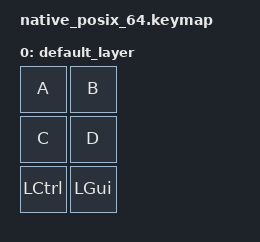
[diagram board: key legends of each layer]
#include <dt-bindings/zmk/keys.h>
#include <behaviors.dtsi>
#include <dt-bindings/zmk/kscan_mock.h>

/ {
    combos {
        compatible = "zmk,combos";

        combo_ab {
            timeout-ms = <50>;
            key-positions = <0 1>;
            bindings = <&kp X>;
            require-prior-idle-ms = <100>;
            require-prior-idle-ignore = <C LC(D)>;
        };
    };

    keymap {
        compatible = "zmk,keymap";

        default_layer {
            bindings = <
                &kp A &kp B
                &kp C &kp D
                &kp LCTL &kp LGUI
            >;
        };
    };
};

&kscan {
    rows = <3>;
    columns = <2>;
    events = <
        // Tap C and then combo, should actuate
        ZMK_MOCK_PRESS(1,0,10)
        ZMK_MOCK_RELEASE(1,0,10)
        ZMK_MOCK_PRESS(0,0,10)
        ZMK_MOCK_PRESS(0,1,10)
        ZMK_MOCK_RELEASE(0,0,10)
        ZMK_MOCK_RELEASE(0,1,100)

        // Tap D and then combo, should NOT actuate
        ZMK_MOCK_PRESS(1,1,10)
        ZMK_MOCK_RELEASE(1,1,10)
        ZMK_MOCK_PRESS(0,0,10)
        ZMK_MOCK_PRESS(0,1,10)
        ZMK_MOCK_RELEASE(0,0,10)
        ZMK_MOCK_RELEASE(0,1,100)

        // Tap LC(D) and then combo, should actuate
        ZMK_MOCK_PRESS(2,0,10)
        ZMK_MOCK_PRESS(1,1,10)
        ZMK_MOCK_RELEASE(1,1,10)
        ZMK_MOCK_RELEASE(2,0,10)
        ZMK_MOCK_PRESS(0,0,10)
        ZMK_MOCK_PRESS(0,1,10)
        ZMK_MOCK_RELEASE(0,0,10)
        ZMK_MOCK_RELEASE(0,1,100)
    >;
};
